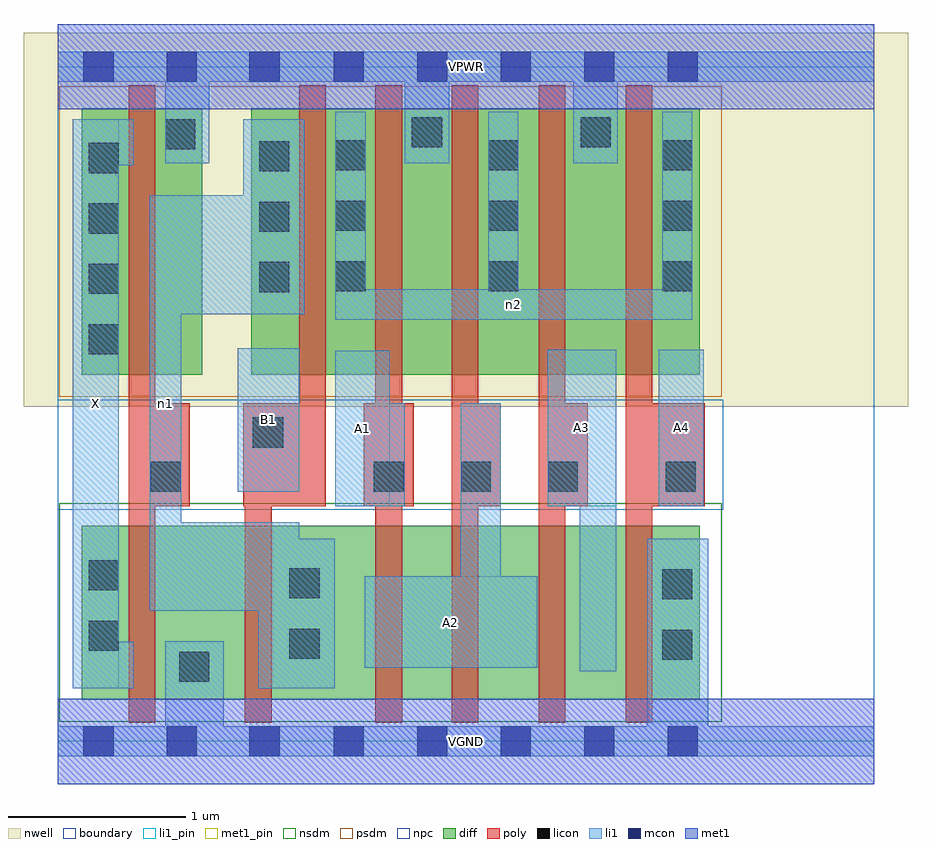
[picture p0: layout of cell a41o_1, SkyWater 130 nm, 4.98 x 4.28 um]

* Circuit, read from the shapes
.subckt a41o_1 A1 A2 A3 A4 B1 VGND VPWR X n1 n2
XM1 VGND n1 X VSUBS sky130_fd_pr__nfet_01v8 w=0.98 l=0.15
XM2 n1 B1 VGND VSUBS sky130_fd_pr__nfet_01v8 w=0.98 l=0.15
XM3 n3 A1 n1 VSUBS sky130_fd_pr__nfet_01v8 w=0.98 l=0.15
XM4 n4 A2 n3 VSUBS sky130_fd_pr__nfet_01v8 w=0.98 l=0.15
XM5 n5 A3 n4 VSUBS sky130_fd_pr__nfet_01v8 w=0.98 l=0.15
XM6 VGND A4 n5 VSUBS sky130_fd_pr__nfet_01v8 w=0.98 l=0.15
XM7 VPWR n1 X n6 sky130_fd_pr__pfet_01v8 w=1.5 l=0.15
XM8 n2 B1 n1 n6 sky130_fd_pr__pfet_01v8 w=1.5 l=0.15
XM9 VPWR A1 n2 n6 sky130_fd_pr__pfet_01v8 w=1.5 l=0.15
XM10 n2 A2 VPWR n6 sky130_fd_pr__pfet_01v8 w=1.5 l=0.15
XM11 VPWR A3 n2 n6 sky130_fd_pr__pfet_01v8 w=1.5 l=0.15
XM12 n2 A4 VPWR n6 sky130_fd_pr__pfet_01v8 w=1.5 l=0.15
.ends

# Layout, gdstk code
import gdstk
lib = gdstk.Library(unit=1e-6, precision=1e-09)
def R(c, l, rs):  # rectangles x0, y0, x1, y1
    for r in rs: c.add(gdstk.rectangle(r[:2], r[2:], *l))
def A(c, l, x, y, w, h, nx, ny, dx, dy):  # array of equal rectangles
    R(c, l, [(x+i*dx, y+j*dy, x+i*dx+w, y+j*dy+h) for i in range(nx) for j in range(ny)])
nwell = (64, 20)
diff = (65, 20)
poly = (66, 20)
licon = (66, 44)
li1_pin = (67, 16)
li1 = (67, 20)
mcon = (67, 44)
met1_pin = (68, 16)
met1 = (68, 20)
nsdm = (93, 44)
psdm = (94, 20)
npc = (95, 20)
boundary = (235, 4)

a41o_1 = lib.new_cell('a41o_1')
R(a41o_1, nwell, [(-0.19,1.885,4.79,3.99), (0,1.885,4.6,3.99)])
R(a41o_1, diff, [(0.135,0.235,3.615,1.215), (0.135,2.065,0.815,3.565), (1.09,2.065,3.615,3.565)])
A(a41o_1, poly, 2.22, 0.105, 0.15, 3.59, 3, 1, 0.49, 0)
R(a41o_1, poly, [(0.4,0.105,0.55,3.695), (1.055,0.105,1.205,1.905), (1.79,0.105,1.94,3.695), (0.4,1.325,0.745,1.905), (1.045,1.325,1.51,1.905), (1.36,1.325,1.51,3.695), (1.725,1.325,2.005,1.905), (2.22,1.325,2.495,1.905), (2.71,1.325,2.985,1.905), (3.2,1.325,3.645,1.905)])
A(a41o_1, licon, 1.78, 1.405, 0.17, 0.17, 3, 1, 0.49, 0)
A(a41o_1, licon, 0.175, 2.18, 0.17, 0.17, 1, 4, 0, 0.34)
A(a41o_1, licon, 1.135, 2.53, 0.17, 0.17, 1, 3, 0, 0.34)
A(a41o_1, licon, 1.565, 2.535, 0.17, 0.17, 1, 3, 0, 0.34)
A(a41o_1, licon, 2.425, 2.535, 0.17, 0.17, 1, 3, 0, 0.34)
A(a41o_1, licon, 3.405, 2.535, 0.17, 0.17, 1, 3, 0, 0.34)
R(a41o_1, licon, [(0.685,0.335,0.855,0.505), (3.405,0.46,3.575,0.63), (1.305,0.465,1.475,0.635), (0.175,0.51,0.345,0.68), (3.405,0.8,3.575,0.97), (1.305,0.805,1.475,0.975), (0.175,0.85,0.345,1.02), (0.525,1.405,0.695,1.575), (3.425,1.405,3.595,1.575), (1.1,1.655,1.27,1.825), (0.605,3.335,0.775,3.505), (1.995,3.345,2.165,3.515), (2.945,3.345,3.115,3.515)])
R(a41o_1, li1_pin, [(0.085,0.3,0.345,3.505), (1.73,0.415,2.7,0.93), (1.565,1.325,1.87,2.2), (2.76,1.325,3.145,2.205), (3.385,1.325,3.64,2.205), (1.015,1.405,1.36,2.215)])
R(a41o_1, li1, [(0,-0.085,4.6,0.085), (0.605,-0.085,0.935,0.565), (3.32,-0.085,3.665,1.14), (0.085,0.3,0.345,3.505), (0.085,0.3,0.43,0.56), (1.13,0.3,1.56,1.14), (2.94,0.395,3.145,2.205), (1.73,0.415,2.7,0.93), (2.27,0.415,2.495,1.905), (0.52,0.735,0.695,3.075), (0.52,0.735,1.36,1.235), (1.565,1.325,1.87,2.2), (1.565,1.325,1.955,1.905), (2.76,1.325,3.145,2.205), (3.385,1.325,3.64,2.205), (1.015,1.405,1.36,2.215), (1.565,2.375,3.575,2.545), (1.565,2.375,1.735,3.545), (2.425,2.375,2.595,3.545), (3.405,2.375,3.575,3.545), (0.52,2.405,1.39,3.075), (1.045,2.405,1.39,3.505), (0.085,3.245,0.43,3.505), (0.605,3.255,0.855,3.885), (1.955,3.255,2.205,3.885), (2.905,3.255,3.155,3.885), (0,3.715,4.6,3.885)])
A(a41o_1, mcon, 1.555, -0.085, 0.17, 0.17, 5, 2, 0.47, 3.8)
R(a41o_1, mcon, [(0.145,-0.085,0.315,0.085), (0.615,-0.085,0.785,0.085), (1.08,-0.085,1.25,0.085), (0.145,3.715,0.315,3.885), (0.615,3.715,0.785,3.885), (1.08,3.715,1.25,3.885)])
R(a41o_1, met1_pin, [(0,-0.24,4.6,0.24), (0,3.56,4.6,4.04)])
R(a41o_1, met1, [(0,-0.24,4.6,0.24), (0,3.56,4.6,4.04)])
R(a41o_1, nsdm, [(0.01,0.11,3.74,1.34)])
R(a41o_1, psdm, [(0.01,1.94,3.74,3.69)])
R(a41o_1, npc, [(0,1.305,3.75,1.925)])
R(a41o_1, boundary, [(0,0,4.6,3.8)])
a41o_1.add(gdstk.Label('A1', (1.717,1.762), layer=67, texttype=5))
a41o_1.add(gdstk.Label('A2', (2.215,0.672), layer=67, texttype=5))
a41o_1.add(gdstk.Label('A3', (2.952,1.765), layer=67, texttype=5))
a41o_1.add(gdstk.Label('A4', (3.512,1.765), layer=67, texttype=5))
a41o_1.add(gdstk.Label('B1', (1.187,1.81), layer=67, texttype=5))
a41o_1.add(gdstk.Label('X', (0.215,1.902), layer=67, texttype=5))
a41o_1.add(gdstk.Label('n1', (0.607,1.905), layer=67, texttype=5))
a41o_1.add(gdstk.Label('n2', (2.57,2.46), layer=67, texttype=5))
a41o_1.add(gdstk.Label('VPWR', (2.3,3.8), layer=68, texttype=5))
a41o_1.add(gdstk.Label('VGND', (2.3,0), layer=68, texttype=5))
a41o_1.add(gdstk.Label('A1', (1.717,1.762), layer=67, texttype=16))
a41o_1.add(gdstk.Label('A2', (2.215,0.672), layer=67, texttype=16))
a41o_1.add(gdstk.Label('A3', (2.952,1.765), layer=67, texttype=16))
a41o_1.add(gdstk.Label('A4', (3.512,1.765), layer=67, texttype=16))
a41o_1.add(gdstk.Label('B1', (1.187,1.81), layer=67, texttype=16))
a41o_1.add(gdstk.Label('X', (0.215,1.902), layer=67, texttype=16))
a41o_1.add(gdstk.Label('VPWR', (2.3,3.8), layer=68, texttype=16))
a41o_1.add(gdstk.Label('VGND', (2.3,0), layer=68, texttype=16))

lib.write_gds('a41o_1.gds')
